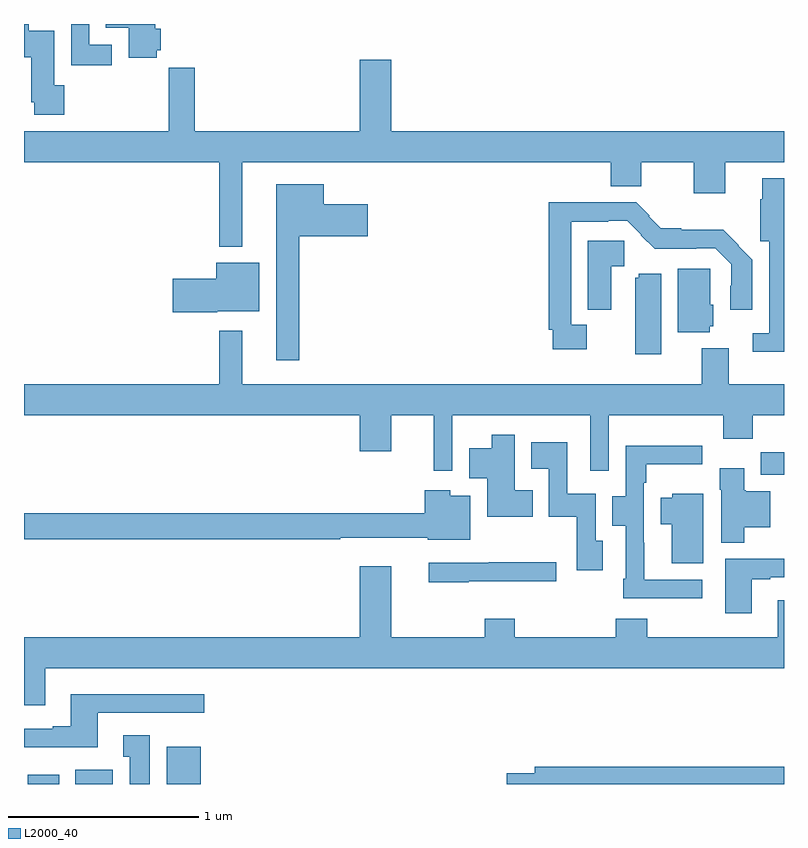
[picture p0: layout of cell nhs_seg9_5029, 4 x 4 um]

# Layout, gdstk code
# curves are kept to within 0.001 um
import gdstk
lib = gdstk.Library(unit=1e-6, precision=1e-09)
def R(c, l, rs):  # rectangles x0, y0, x1, y1
    for r in rs: c.add(gdstk.rectangle(r[:2], r[2:], *l))
def P(c, l, *ps):  # polygons
    for p in ps: c.add(gdstk.Polygon(p, *l))
L2000_40 = (2000, 40)

nhs_seg9_5029 = lib.new_cell('nhs_seg9_5029')
R(nhs_seg9_5029, L2000_40, [(403.019,1174.5,403.186,1174.549), (403.271,1174.5,403.468,1174.576), (403.751,1174.5,403.93,1174.696), (406.877,1176.128,407,1176.246)])
P(nhs_seg9_5029, L2000_40, [(403.699,1178.361),(403.721,1178.361),(403.721,1178.475),(403.69,1178.475),(403.69,1178.5),(403.429,1178.5),(403.429,1178.48),(403.55,1178.48),(403.55,1178.323),(403.699,1178.323)],
  [(403.462,1178.391),(403.344,1178.391),(403.344,1178.5),(403.248,1178.5),(403.248,1178.283),(403.462,1178.283)],
  [(403.211,1178.178),(403.159,1178.178),(403.159,1178.464),(403.024,1178.464),(403.024,1178.5),(403,1178.5),(403,1178.325),(403.037,1178.325),(403.037,1178.088),(403.054,1178.088),(403.054,1178.022),(403.211,1178.022)],
  [(404.149,1177.772),(406.088,1177.772),(406.088,1177.646),(406.249,1177.646),(406.249,1177.772),(406.526,1177.772),(406.526,1177.608),(406.69,1177.608),(406.69,1177.772),(407,1177.772),(407,1177.936),(404.932,1177.936),(404.932,1178.311),(404.768,1178.311),(404.768,1177.936),(403.898,1177.936),(403.898,1178.269),(403.762,1178.269),(403.762,1177.936),(403,1177.936),(403,1177.772),(404.028,1177.772),(404.028,1177.328),(404.149,1177.328)],
  [(407,1177.687),(406.886,1177.687),(406.886,1177.577),(406.874,1177.577),(406.874,1177.356),(406.923,1177.356),(406.923,1176.873),(406.836,1176.873),(406.836,1176.776),(407,1176.776)],
  [(404.449,1177.382),(404.809,1177.382),(404.809,1177.552),(404.578,1177.552),(404.578,1177.657),(404.327,1177.657),(404.327,1176.729),(404.449,1176.729)],
  [(405.962,1176.916),(405.879,1176.916),(405.879,1177.46),(406.076,1177.46),(406.076,1177.464),(406.176,1177.464),(406.248,1177.392),(406.245,1177.389),(406.319,1177.316),(406.538,1177.316),(406.538,1177.32),(406.638,1177.32),(406.722,1177.236),(406.722,1177.123),(406.718,1177.123),(406.718,1176.996),(406.834,1176.996),(406.834,1177.26),(406.679,1177.417),(406.459,1177.417),(406.459,1177.425),(406.351,1177.425),(406.289,1177.487),(406.293,1177.491),(406.223,1177.561),(405.763,1177.561),(405.763,1176.892),(405.783,1176.892),(405.783,1176.788),(405.962,1176.788)],
  [(406.09,1177.226),(406.159,1177.226),(406.159,1177.358),(405.968,1177.358),(405.968,1176.997),(406.09,1176.997)],
  [(404.016,1176.989),(404.239,1176.989),(404.239,1177.243),(404.012,1177.243),(404.012,1177.16),(403.782,1177.16),(403.782,1176.982),(404.016,1176.982)],
  [(406.608,1176.909),(406.627,1176.909),(406.627,1177.023),(406.611,1177.023),(406.611,1177.212),(406.442,1177.212),(406.442,1176.878),(406.608,1176.878)],
  [(406.354,1177.186),(406.236,1177.186),(406.236,1177.164),(406.217,1177.164),(406.217,1176.762),(406.354,1176.762)],
  [(405.255,1176.44),(405.981,1176.44),(405.981,1176.15),(406.077,1176.15),(406.077,1176.44),(406.679,1176.44),(406.679,1176.316),(406.835,1176.316),(406.835,1176.44),(407,1176.44),(407,1176.604),(406.708,1176.604),(406.708,1176.793),(406.568,1176.793),(406.568,1176.604),(404.149,1176.604),(404.149,1176.886),(404.028,1176.886),(404.028,1176.604),(403,1176.604),(403,1176.44),(404.768,1176.44),(404.768,1176.252),(404.932,1176.252),(404.932,1176.44),(405.157,1176.44),(405.157,1176.15),(405.255,1176.15)],
  [(405.677,1176.046),(405.583,1176.046),(405.583,1176.337),(405.461,1176.337),(405.461,1176.268),(405.344,1176.268),(405.344,1176.11),(405.437,1176.11),(405.437,1175.906),(405.677,1175.906)],
  [(406.045,1175.781),(406.008,1175.781),(406.008,1176.028),(405.858,1176.028),(405.858,1176.298),(405.669,1176.298),(405.669,1176.158),(405.762,1176.158),(405.762,1175.906),(405.91,1175.906),(405.91,1175.625),(406.045,1175.625)],
  [(406.57,1175.574),(406.264,1175.574),(406.264,1175.771),(406.263,1175.771),(406.263,1176.086),(406.276,1176.086),(406.276,1176.182),(406.57,1176.182),(406.57,1176.28),(406.167,1176.28),(406.167,1176.015),(406.097,1176.015),(406.097,1175.86),(406.167,1175.86),(406.167,1175.581),(406.155,1175.581),(406.155,1175.478),(406.57,1175.478)],
  [(406.792,1175.852),(406.927,1175.852),(406.927,1176.04),(406.798,1176.04),(406.798,1176.046),(406.792,1176.046),(406.792,1176.163),(406.663,1176.163),(406.663,1176.05),(406.67,1176.05),(406.67,1175.77),(406.792,1175.77)],
  [(405.349,1176.016),(405.244,1176.016),(405.244,1176.046),(405.11,1176.046),(405.11,1175.925),(404.664,1175.925),(404.664,1175.924),(403,1175.924),(403,1175.788),(404.664,1175.788),(404.664,1175.795),(405.126,1175.795),(405.126,1175.786),(405.349,1175.786)],
  [(406.576,1176.028),(406.413,1176.028),(406.413,1176.007),(406.352,1176.007),(406.352,1175.867),(406.409,1175.867),(406.409,1175.663),(406.576,1175.663)],
  [(406.831,1175.577),(406.927,1175.577),(406.927,1175.589),(407,1175.589),(407,1175.685),(406.691,1175.685),(406.691,1175.4),(406.831,1175.4)],
  [(405.341,1175.567),(405.802,1175.567),(405.802,1175.667),(405.445,1175.667),(405.445,1175.664),(405.129,1175.664),(405.129,1175.563),(405.341,1175.563)],
  [(403.111,1175.108),(407,1175.108),(407,1175.467),(406.967,1175.467),(406.967,1175.272),(406.28,1175.272),(406.28,1175.371),(406.115,1175.371),(406.115,1175.272),(405.584,1175.272),(405.584,1175.371),(405.424,1175.371),(405.424,1175.272),(404.932,1175.272),(404.932,1175.647),(404.768,1175.647),(404.768,1175.272),(403,1175.272),(403,1174.914),(403.111,1174.914)],
  [(403.387,1174.875),(403.948,1174.875),(403.948,1174.972),(403.247,1174.972),(403.247,1174.804),(403.151,1174.804),(403.151,1174.791),(403,1174.791),(403,1174.694),(403.387,1174.694)],
  [(403.663,1174.756),(403.523,1174.756),(403.523,1174.643),(403.556,1174.643),(403.556,1174.5),(403.663,1174.5)],
  [(407,1174.592),(405.689,1174.592),(405.689,1174.556),(405.54,1174.556),(405.54,1174.5),(407,1174.5)])

lib.write_gds('nhs_seg9_5029.gds')
